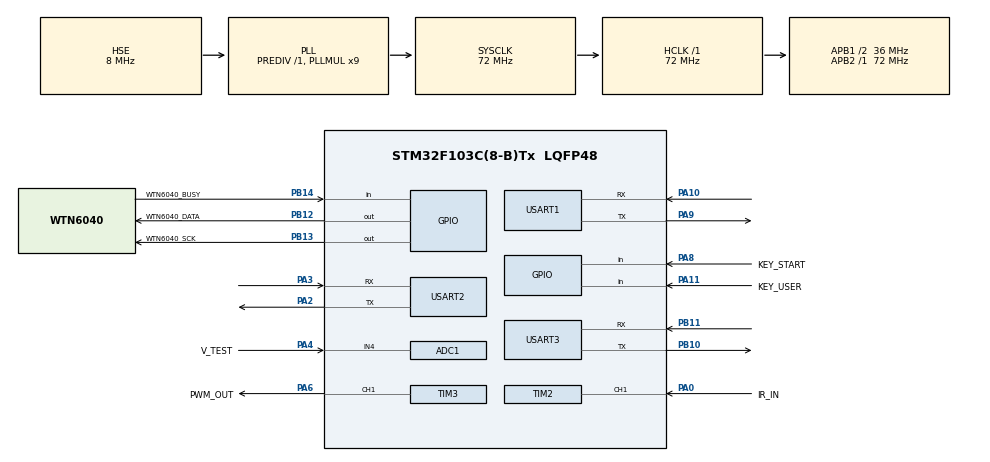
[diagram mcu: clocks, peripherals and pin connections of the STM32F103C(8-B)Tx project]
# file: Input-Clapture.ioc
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ADC1.Channel-1\#ChannelRegularConversion=ADC_CHANNEL_4
ADC1.NbrOfConversionFlag=1
ADC1.Rank-1\#ChannelRegularConversion=1
ADC1.SamplingTime-1\#ChannelRegularConversion=ADC_SAMPLETIME_1CYCLE_5
ADC1.master=1
FREERTOS.Tasks01=defaultTask,0,128,StartDefaultTask,Default,NULL
FREERTOS.configTIMER_QUEUE_LENGTH=5
FREERTOS.configTOTAL_HEAP_SIZE=12288
FREERTOS.configUSE_COUNTING_SEMAPHORES=1
FREERTOS.configUSE_IDLE_HOOK=1
FREERTOS.configUSE_TIMERS=1
FREERTOS.configUSE_TRACE_FACILITY=1
Mcu.Family=STM32F1
Mcu.Name=STM32F103C(8-B)Tx
Mcu.Package=LQFP48
NVIC.PriorityGroup=NVIC_PRIORITYGROUP_4
NVIC.TIM2_IRQn=true\:6\:0\:true\:false\:true\:true\:true\:true
NVIC.USART1_IRQn=true\:5\:0\:false\:false\:true\:true\:true\:true
NVIC.USART2_IRQn=true\:5\:0\:false\:false\:true\:true\:true\:true
NVIC.USART3_IRQn=true\:5\:0\:false\:false\:true\:true\:true\:true
PA0-WKUP.GPIO_Label=IR_IN
PA0-WKUP.GPIO_PuPd=GPIO_PULLDOWN
PA0-WKUP.Signal=S_TIM2_CH1_ETR
PA10.Mode=Asynchronous
PA10.Signal=USART1_RX
PA11.GPIO_Label=KEY_USER
PA11.GPIO_PuPd=GPIO_PULLUP
PA11.Signal=GPIO_Input
PA13.Mode=Serial_Wire
PA13.Signal=SYS_JTMS-SWDIO
PA14.Mode=Serial_Wire
PA14.Signal=SYS_JTCK-SWCLK
PA2.Mode=Asynchronous
PA2.Signal=USART2_TX
PA3.Mode=Asynchronous
PA3.Signal=USART2_RX
PA4.GPIO_Label=V_TEST
PA4.Signal=ADCx_IN4
PA6.GPIO_Label=PWM_OUT
PA6.GPIO_Speed=GPIO_SPEED_FREQ_HIGH
PA6.Signal=S_TIM3_CH1
PA8.GPIO_Label=KEY_START
PA8.GPIO_PuPd=GPIO_PULLUP
PA8.Signal=GPIO_Input
PA9.Mode=Asynchronous
PA9.Signal=USART1_TX
PB10.Mode=Asynchronous
PB10.Signal=USART3_TX
PB11.Mode=Asynchronous
PB11.Signal=USART3_RX
PB12.GPIO_Label=WTN6040_DATA
PB12.GPIO_PuPd=GPIO_PULLUP
PB12.GPIO_Speed=GPIO_SPEED_FREQ_HIGH
PB12.PinState=GPIO_PIN_SET
PB12.Signal=GPIO_Output
PB13.GPIO_Label=WTN6040_SCK
PB13.GPIO_PuPd=GPIO_PULLUP
PB13.GPIO_Speed=GPIO_SPEED_FREQ_HIGH
PB13.PinState=GPIO_PIN_RESET
PB13.Signal=GPIO_Output
PB14.GPIO_Label=WTN6040_BUSY
PB14.GPIO_PuPd=GPIO_PULLUP
PB14.Signal=GPIO_Input
PD0-OSC_IN.Mode=HSE-External-Oscillator
PD0-OSC_IN.Signal=RCC_OSC_IN
PD1-OSC_OUT.Mode=HSE-External-Oscillator
PD1-OSC_OUT.Signal=RCC_OSC_OUT
ProjectManager.HeapSize=0x200
ProjectManager.StackSize=0x400
ProjectManager.TargetToolchain=Other Toolchains (GPDSC)
RCC.ADCPresc=RCC_ADCPCLK2_DIV6
RCC.AHBFreq_Value=72000000
RCC.APB1CLKDivider=RCC_HCLK_DIV2
RCC.APB1Freq_Value=36000000
RCC.APB1TimFreq_Value=72000000
RCC.APB2Freq_Value=72000000
RCC.APB2TimFreq_Value=72000000
RCC.HCLKFreq_Value=72000000
RCC.PLLMUL=RCC_PLL_MUL9
RCC.PLLSourceVirtual=RCC_PLLSOURCE_HSE
RCC.SYSCLKFreq_VALUE=72000000
RCC.SYSCLKSource=RCC_SYSCLKSOURCE_PLLCLK
RCC.USBFreq_Value=72000000
SH.ADCx_IN4.0=ADC1_IN4,IN4
SH.S_TIM2_CH1_ETR.0=TIM2_CH1,Input_Capture1_from_TI1
SH.S_TIM3_CH1.0=TIM3_CH1,PWM Generation1 CH1
TIM2.AutoReloadPreload=TIM_AUTORELOAD_PRELOAD_ENABLE
TIM2.Channel-Input_Capture1_from_TI1=TIM_CHANNEL_1
TIM2.Period=0xFFFF
TIM2.Prescaler=72
TIM3.Channel-PWM\ Generation1\ CH1=TIM_CHANNEL_1
TIM3.Period=500
TIM3.Prescaler=72
TIM3.Pulse-PWM\ Generation1\ CH1=50
USART1.VirtualMode=VM_ASYNC
USART2.VirtualMode=VM_ASYNC
USART3.VirtualMode=VM_ASYNC
VP_FREERTOS_VS_CMSIS_V1.Mode=CMSIS_V1
VP_TIM2_VS_ClockSourceINT.Mode=Internal
VP_TIM3_VS_ClockSourceINT.Mode=Internal
board=custom

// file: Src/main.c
/* USER CODE BEGIN Header */
/**
  ******************************************************************************
  * @file           : main.c
  * @brief          : Main program body
  ******************************************************************************
  * @attention
  *
  * <h2><center>&copy; Copyright (c) 2020 STMicroelectronics.
  * All rights reserved.</center></h2>
  *
  * This software component is licensed by ST under Ultimate Liberty license
  * SLA0044, the "License"; You may not use this file except in compliance with
  * the License. You may obtain a copy of the License at:
  *                             www.st.com/SLA0044
  *弹跳检测项目
  *程序基本完成，等待测试 2020/11/12
  ******************************************************************************
  */
/* USER CODE END Header */

#include "main.h"
#include "cmsis_os.h"
#include "adc.h"
#include "tim.h"
#include "usart.h"
#include "gpio.h"
#include "button.h"
#include "WTN6.h"
#include "dwt_stm32_delay.h"

void SystemClock_Config(void);
void MX_FREERTOS_Init(void);

/* USER CODE BEGIN 0 */
SemaphoreHandle_t xSemaphore_WTN6_TFT; //串口，语音播放互斥量
/* USER CODE END 0 */

int main(void)
{

  /* MCU Configuration--------------------------------------------------------*/

  /* Reset of all peripherals, Initializes the Flash interface and the Systick. */
  HAL_Init();

  /* Configure the system clock */
  SystemClock_Config();

  /* USER CODE BEGIN SysInit */
  xSemaphore_WTN6_TFT = xSemaphoreCreateMutex();//创建互斥量
  /* USER CODE END SysInit */

  /* Initialize all configured peripherals */
  MX_GPIO_Init();
  MX_ADC1_Init();
  MX_USART1_UART_Init();
  MX_USART2_UART_Init();
  MX_USART3_UART_Init();
  MX_TIM2_Init();
  MX_TIM3_Init();

  /* USER CODE BEGIN 2 */
  DWT_Delay_Init();//微秒定时初始化
  Key_Init();//按键初始化
  Key_regist();//按键注册
  WTN6_Gpio_Init();//语音芯片初始化
  HAL_TIM_Base_Start_IT(&htim2);//TIM2基本中断
  HAL_TIM_IC_Start_IT(&htim2, TIM_CHANNEL_1);//TIM2捕获中断
  HAL_TIM_PWM_Start(&htim3, TIM_CHANNEL_1);//开启pwm
  __HAL_TIM_SET_COMPARE(&htim3, TIM_CHANNEL_1, 500);//设置pwm高电平宽度
  HAL_ADCEx_Calibration_Start(&hadc1);    //AD校准

  /* USER CODE END 2 */

  /* Call init function for freertos objects (in freertos.c) */
  MX_FREERTOS_Init();

  /* Start scheduler */
  osKernelStart();

  /* We should never get here as control is now taken by the scheduler */

  /* Infinite loop */
  while (1)
  {

  }
}

void SystemClock_Config(void)
{
  RCC_OscInitTypeDef RCC_OscInitStruct = {0};
  RCC_ClkInitTypeDef RCC_ClkInitStruct = {0};
  RCC_PeriphCLKInitTypeDef PeriphClkInit = {0};

  /** Initializes the CPU, AHB and APB busses clocks
  */
  RCC_OscInitStruct.OscillatorType = RCC_OSCILLATORTYPE_HSE;
  RCC_OscInitStruct.HSEState = RCC_HSE_ON;
  RCC_OscInitStruct.HSEPredivValue = RCC_HSE_PREDIV_DIV1;
  RCC_OscInitStruct.HSIState = RCC_HSI_ON;
  RCC_OscInitStruct.PLL.PLLState = RCC_PLL_ON;
  RCC_OscInitStruct.PLL.PLLSource = RCC_PLLSOURCE_HSE;
  RCC_OscInitStruct.PLL.PLLMUL = RCC_PLL_MUL9;
  if (HAL_RCC_OscConfig(&RCC_OscInitStruct) != HAL_OK)
  {
    Error_Handler();
  }
  /** Initializes the CPU, AHB and APB busses clocks
  */
  RCC_ClkInitStruct.ClockType = RCC_CLOCKTYPE_HCLK|RCC_CLOCKTYPE_SYSCLK
                              |RCC_CLOCKTYPE_PCLK1|RCC_CLOCKTYPE_PCLK2;
  RCC_ClkInitStruct.SYSCLKSource = RCC_SYSCLKSOURCE_PLLCLK;
  RCC_ClkInitStruct.AHBCLKDivider = RCC_SYSCLK_DIV1;
  RCC_ClkInitStruct.APB1CLKDivider = RCC_HCLK_DIV2;
  RCC_ClkInitStruct.APB2CLKDivider = RCC_HCLK_DIV1;

  if (HAL_RCC_ClockConfig(&RCC_ClkInitStruct, FLASH_LATENCY_2) != HAL_OK)
  {
    Error_Handler();
  }
  PeriphClkInit.PeriphClockSelection = RCC_PERIPHCLK_ADC;
  PeriphClkInit.AdcClockSelection = RCC_ADCPCLK2_DIV6;
  if (HAL_RCCEx_PeriphCLKConfig(&PeriphClkInit) != HAL_OK)
  {
    Error_Handler();
  }
}

void Error_Handler(void)
{
}

/************************ (C) COPYRIGHT STMicroelectronics *****END OF FILE****/

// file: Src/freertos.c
/* USER CODE BEGIN Header */
/**
  ******************************************************************************
  * File Name          : freertos.c
  * Description        : Code for freertos applications
  ******************************************************************************
  * @attention
  *
  * <h2><center>&copy; Copyright (c) 2020 STMicroelectronics.
  * All rights reserved.</center></h2>
  *
  * This software component is licensed by ST under Ultimate Liberty license
  * SLA0044, the "License"; You may not use this file except in compliance with
  * the License. You may obtain a copy of the License at:
  *                             www.st.com/SLA0044
  *
  ******************************************************************************
  */
/* USER CODE END Header */

#include "FreeRTOS.h"
#include "task.h"
#include "main.h"
#include "cmsis_os.h"
#include "WTN6.h"

/* USER CODE BEGIN Includes */
#include "button.h"
#include "gpio.h"
#include "BspSound.h"
#include "adc.h"
#include "APPTooL.h"
#include "BspConfig.h"
#include "application.h"
/* USER CODE END Includes */

/* USER CODE BEGIN Variables */
uint8_t  TIM5CH1_CAPTURE_STA = 0;	//ÊäÈë²¶»ñ×´Ì¬
uint16_t	TIM5CH1_CAPTURE_VAL;	//ÊäÈë²¶»ñÖµ
uint32_t temp = 0;
//按键变量
uint16_t KeyValue_t = 0xffff; uint16_t lastvalue_t = 0xffff;
Key_Message keys[2] = { 0 };
uint8_t flag = 0;
float res;
uint8_t led_renum = 0;
uint16_t res_jump_high = 0;//测试结果
uint16_t speak_flag = 0;//喇叭图标
//线程同步
extern SemaphoreHandle_t xSemaphore_WTN6_TFT; //串口，语音播放互斥量
//线程句柄
osThreadId SensorDriveHandle;//传感器驱动线程
osThreadId ListenerTaskHandle;    //监听线程
/* USER CODE END Variables */
osThreadId defaultTaskHandle;

/* USER CODE BEGIN FunctionPrototypes */
//按键注册和事件回调函数
void  Key_CallBack(Key_Message index);
void SensorDrive_CallBack(void const *argument);
void Listener_CallBack(void const *argument);
/* USER CODE END FunctionPrototypes */

void StartDefaultTask(void const * argument);

void MX_FREERTOS_Init(void); /* (MISRA C 2004 rule 8.1) */

/* Hook prototypes */
void vApplicationIdleHook(void);

/* USER CODE BEGIN 2 */
__weak void vApplicationIdleHook( void )
{
   /* vApplicationIdleHook() will only be called if configUSE_IDLE_HOOK is set
   to 1 in FreeRTOSConfig.h. It will be called on each iteration of the idle
   task. It is essential that code added to this hook function never attempts
   to block in any way (for example, call xQueueReceive() with a block time
   specified, or call vTaskDelay()). If the application makes use of the
   vTaskDelete() API function (as this demo application does) then it is also
   important that vApplicationIdleHook() is permitted to return to its calling
   function, because it is the responsibility of the idle task to clean up
   memory allocated by the kernel to any task that has since been deleted. */
}
/* USER CODE END 2 */

void MX_FREERTOS_Init(void) {

  /* Create the thread(s) */
  /* definition and creation of defaultTask */
  osThreadDef(defaultTask, StartDefaultTask, osPriorityNormal, 0, 128);
  defaultTaskHandle = osThreadCreate(osThread(defaultTask), NULL);

}

void StartDefaultTask(void const * argument)
{
  /* USER CODE BEGIN StartDefaultTask */

	taskENTER_CRITICAL(); //进入临界区

	osThreadDef(SensorDrive, SensorDrive_CallBack, 4, 0, 128);
	SensorDriveHandle = osThreadCreate(osThread(SensorDrive), NULL);

	osThreadDef(Listener,Listener_CallBack,2,0,128);
	ListenerTaskHandle = osThreadCreate(osThread(Listener), NULL);

	vTaskDelete(defaultTaskHandle); //删除任务
	taskEXIT_CRITICAL();//推出临界区
  /* USER CODE END StartDefaultTask */
}

/* USER CODE BEGIN Application */
void SensorDrive_CallBack(void const *argument)
{
	WTN6_PlayOneByte(0xe3);//调节音量
	osDelay(100);
	Firstmuis();

	for (;;)
	{
		ScanKeys(&KeyValue_t, &lastvalue_t, keys, Key_CallBack);
		//printf1("in while \r\n");
		osDelay(20);
	}
}
void Listener_CallBack(void const *argument)
{
	for (;;)
	{
		//printf1("task listener************************** %d\r\n", ADC_Conversion(&hadc1, 10));
		xSemaphoreTake(xSemaphore_WTN6_TFT, portMAX_DELAY);
		{
			write_variable_store_82_1word(0x0003, ADC_GetValue(&hadc1, 10));//向TFT屏传输数据
		}
		xSemaphoreGive(xSemaphore_WTN6_TFT);
		HAL_GPIO_TogglePin(LED_LEFT_PORT, LED_LEFT_PIN);
		osDelay(500);
	}
}
void  Key_regist(void)
{
	keys[0].GPIOx = GPIOA;
	keys[0].GPIO_Pin = KEY_START_Pin;
	keys[0].Key_count = 2;

	keys[1].GPIOx = GPIOA;
	keys[1].GPIO_Pin = KEY_USER_Pin;
	keys[1].Key_count = 2;
}
//按键回调函数
void  Key_CallBack(Key_Message index)
{
	//printf1("The KEY_USER is passed!\r\n");
	if (index.GPIO_Pin == KEY_START_Pin)
	{
		printf1("The KEY_START is passed_pin8!\r\n");
	}
	if (index.GPIO_Pin == KEY_USER_Pin)
	{
		printf1("The KEY_USER is passed_pin11!\r\n");
		flag = 1;
		TIM5CH1_CAPTURE_STA = 0;
		write_register_80_1byte(TFT_BUTTON, 1);//开屏
		write_variable_store_82_1word(0x0004, 0x0001); //打开动画图标
		write_variable_store_82_1word(0x0005, 0);//关闭出错报警动画
		BeginSound();
		while (flag)
		{

			printf1("in while \r\n");
			osDelay(10);
			if (led_renum++ > 50)
			{
				led_renum = 0;
				HAL_GPIO_TogglePin(LED_LEFT_PORT, LED_RIGHT_PIN);//跳起后此led闪耀
			}

			if (TIM5CH1_CAPTURE_STA & 0X80)
			{
				temp = TIM5CH1_CAPTURE_STA & 0X3F;
				temp *= 65536;//溢出时间总和
				temp += TIM5CH1_CAPTURE_VAL;////得到总的高电平时间
				printf("HIGH:%d us\r\n", temp);//打印总的高点平时间
				TIM5CH1_CAPTURE_STA = 0;//开始下一次捕获
				osDelay(1000); //延时一会
				res = temp / 1000.00 / 1000.00;
				//res = (res*10);
				res_jump_high = (uint16_t)(res*res * 1250);////输出毫米
				if (res_jump_high < HIGH_MAX)                            //防止按钮按钮后在站到站立位置，或离开的清空(只捕捉到上升沿或下减沿会触发这个if)
				{
					printf("HIGH/1000====%dmm\r\n", res_jump_high);////输出毫米
					write_variable_store_82_1word(0x0001, res_jump_high); //发送数据到TFT
					//播放时不传输数据
					xSemaphoreTake(xSemaphore_WTN6_TFT, portMAX_DELAY);
					{
						write_variable_store_82_1word(0x0002, 0x0001); //打开动画图标
						ProcessHeight((double)(res*res * 1250 / 10.00));
						write_variable_store_82_1word(0x0002, 0); //关闭动画图标
						flag = 0;
						write_variable_store_82_1word(0x0004, 0); //关闭动画图标
					}
					xSemaphoreGive(xSemaphore_WTN6_TFT);
				}
				else
				{
					write_variable_store_82_1word(0x0005, 1);//出错报警
					flag = 0;
				}

			}
			//在此处可以加入没跳提示

		}

	}
}

//向TFT屏发送数据
//void SendMessageToTFT(uint16_t address)
//{
//	uint16_t TFT_SendArray[3] = { 0 };
//	double bmires = 0.00;
//	uint16_t TFT_bmi = 0;
//
//	TFT_SendArray[2] =
//	TFT_SendArray[3] = ADC_GetValue(&hadc1, 10);			//电池电量
//	write_multiple_variable_store_82(address, 4, TFT_SendArray);
//	//write_register_80_1byte(TFT_BUTTON, 1);
//}
/* USER CODE END Application */

/************************ (C) COPYRIGHT STMicroelectronics *****END OF FILE****/
